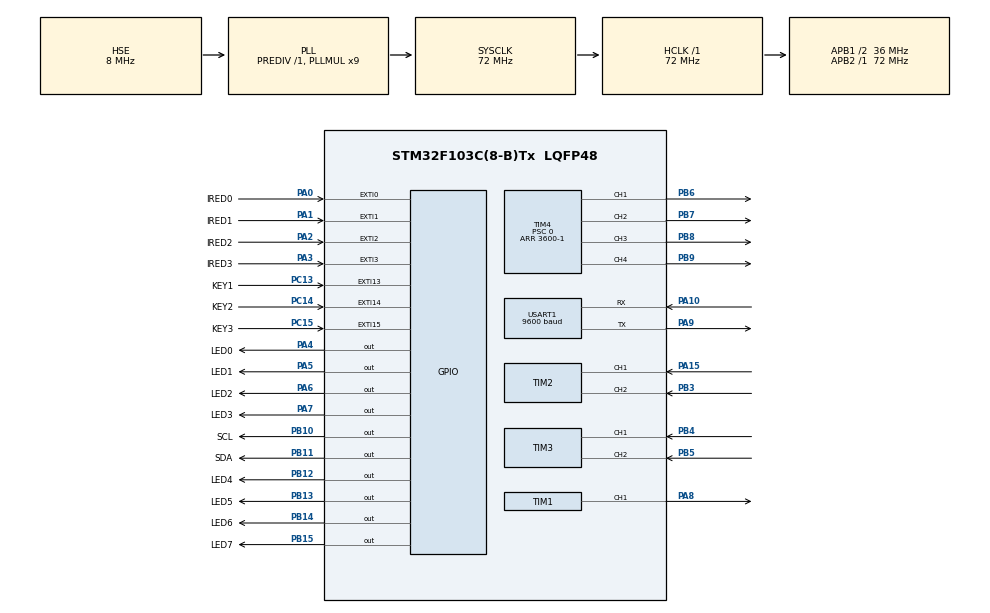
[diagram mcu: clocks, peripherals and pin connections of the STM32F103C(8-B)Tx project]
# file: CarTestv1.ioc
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Dma.Request0=USART1_TX
Dma.USART1_TX.0.Direction=DMA_MEMORY_TO_PERIPH
Dma.USART1_TX.0.Instance=DMA1_Channel4
Dma.USART1_TX.0.MemDataAlignment=DMA_MDATAALIGN_BYTE
Dma.USART1_TX.0.MemInc=DMA_MINC_ENABLE
Dma.USART1_TX.0.Mode=DMA_NORMAL
Dma.USART1_TX.0.PeriphDataAlignment=DMA_PDATAALIGN_BYTE
Dma.USART1_TX.0.PeriphInc=DMA_PINC_DISABLE
Dma.USART1_TX.0.Priority=DMA_PRIORITY_LOW
Mcu.Family=STM32F1
Mcu.Name=STM32F103C(8-B)Tx
Mcu.Package=LQFP48
NVIC.DMA1_Channel4_IRQn=true\:0\:0\:false\:true\:true\:1\:false\:true\:true
NVIC.EXTI0_IRQn=true\:0\:0\:false\:false\:true\:true\:true\:true
NVIC.EXTI15_10_IRQn=true\:13\:0\:true\:false\:true\:true\:true\:true
NVIC.EXTI1_IRQn=true\:0\:0\:false\:false\:true\:true\:true\:true
NVIC.EXTI2_IRQn=true\:0\:0\:false\:false\:true\:true\:true\:true
NVIC.EXTI3_IRQn=true\:0\:0\:false\:false\:true\:true\:true\:true
NVIC.PriorityGroup=NVIC_PRIORITYGROUP_4
NVIC.TIM2_IRQn=true\:0\:0\:false\:false\:true\:true\:true\:true
NVIC.TIM3_IRQn=true\:0\:0\:false\:false\:true\:true\:true\:true
NVIC.USART1_IRQn=true\:7\:0\:true\:true\:true\:2\:true\:true\:true
PA0-WKUP.GPIO_Label=IRED0
PA0-WKUP.GPIO_ModeDefaultEXTI=GPIO_MODE_IT_RISING
PA0-WKUP.Signal=GPXTI0
PA1.GPIO_Label=IRED1
PA1.GPIO_ModeDefaultEXTI=GPIO_MODE_IT_RISING
PA1.Signal=GPXTI1
PA10.Mode=Asynchronous
PA10.Signal=USART1_RX
PA13.Mode=Serial_Wire
PA13.Signal=SYS_JTMS-SWDIO
PA14.Mode=Serial_Wire
PA14.Signal=SYS_JTCK-SWCLK
PA15.Signal=S_TIM2_CH1_ETR
PA2.GPIO_Label=IRED2
PA2.GPIO_ModeDefaultEXTI=GPIO_MODE_IT_RISING
PA2.Signal=GPXTI2
PA3.GPIO_Label=IRED3
PA3.GPIO_ModeDefaultEXTI=GPIO_MODE_IT_RISING
PA3.Signal=GPXTI3
PA4.GPIO_Label=LED0
PA4.PinState=GPIO_PIN_SET
PA4.Signal=GPIO_Output
PA5.GPIO_Label=LED1
PA5.PinState=GPIO_PIN_SET
PA5.Signal=GPIO_Output
PA6.GPIO_Label=LED2
PA6.PinState=GPIO_PIN_SET
PA6.Signal=GPIO_Output
PA7.GPIO_Label=LED3
PA7.PinState=GPIO_PIN_SET
PA7.Signal=GPIO_Output
PA8.Signal=S_TIM1_CH1
PA9.Mode=Asynchronous
PA9.Signal=USART1_TX
PB10.GPIO_Label=SCL
PB10.GPIO_PuPd=GPIO_PULLUP
PB10.GPIO_Speed=GPIO_SPEED_FREQ_HIGH
PB10.PinState=GPIO_PIN_SET
PB10.Signal=GPIO_Output
PB11.GPIO_Label=SDA
PB11.GPIO_PuPd=GPIO_PULLUP
PB11.GPIO_Speed=GPIO_SPEED_FREQ_HIGH
PB11.PinState=GPIO_PIN_SET
PB11.Signal=GPIO_Output
PB12.GPIO_Label=LED4
PB12.PinState=GPIO_PIN_SET
PB12.Signal=GPIO_Output
PB13.GPIO_Label=LED5
PB13.PinState=GPIO_PIN_SET
PB13.Signal=GPIO_Output
PB14.GPIO_Label=LED6
PB14.PinState=GPIO_PIN_SET
PB14.Signal=GPIO_Output
PB15.GPIO_Label=LED7
PB15.PinState=GPIO_PIN_SET
PB15.Signal=GPIO_Output
PB3.Signal=S_TIM2_CH2
PB4.Signal=S_TIM3_CH1
PB5.Signal=S_TIM3_CH2
PB6.Signal=S_TIM4_CH1
PB7.Signal=S_TIM4_CH2
PB8.Signal=S_TIM4_CH3
PB9.Signal=S_TIM4_CH4
PC13-TAMPER-RTC.GPIO_Label=KEY1
PC13-TAMPER-RTC.GPIO_ModeDefaultEXTI=GPIO_MODE_IT_FALLING
PC13-TAMPER-RTC.GPIO_PuPd=GPIO_PULLUP
PC13-TAMPER-RTC.Signal=GPXTI13
PC14-OSC32_IN.GPIO_Label=KEY2
PC14-OSC32_IN.GPIO_ModeDefaultEXTI=GPIO_MODE_IT_FALLING
PC14-OSC32_IN.GPIO_PuPd=GPIO_PULLUP
PC14-OSC32_IN.Signal=GPXTI14
PC15-OSC32_OUT.GPIO_Label=KEY3
PC15-OSC32_OUT.GPIO_ModeDefaultEXTI=GPIO_MODE_IT_FALLING
PC15-OSC32_OUT.GPIO_PuPd=GPIO_PULLUP
PC15-OSC32_OUT.Signal=GPXTI15
PD0-OSC_IN.Mode=HSE-External-Oscillator
PD0-OSC_IN.Signal=RCC_OSC_IN
PD1-OSC_OUT.Mode=HSE-External-Oscillator
PD1-OSC_OUT.Signal=RCC_OSC_OUT
ProjectManager.HeapSize=0x200
ProjectManager.StackSize=0x400
ProjectManager.TargetToolchain=MDK-ARM V5
RCC.AHBFreq_Value=72000000
RCC.APB1CLKDivider=RCC_HCLK_DIV2
RCC.APB1Freq_Value=36000000
RCC.APB1TimFreq_Value=72000000
RCC.APB2Freq_Value=72000000
RCC.APB2TimFreq_Value=72000000
RCC.HCLKFreq_Value=72000000
RCC.PLLMUL=RCC_PLL_MUL9
RCC.PLLSourceVirtual=RCC_PLLSOURCE_HSE
RCC.SYSCLKFreq_VALUE=72000000
RCC.SYSCLKSource=RCC_SYSCLKSOURCE_PLLCLK
RCC.USBFreq_Value=72000000
SH.S_TIM1_CH1.0=TIM1_CH1,PWM Generation1 CH1
SH.S_TIM2_CH1_ETR.0=TIM2_CH1,Encoder_Interface
SH.S_TIM2_CH2.0=TIM2_CH2,Encoder_Interface
SH.S_TIM3_CH1.0=TIM3_CH1,Encoder_Interface
SH.S_TIM3_CH2.0=TIM3_CH2,Encoder_Interface
SH.S_TIM4_CH1.0=TIM4_CH1,PWM Generation1 CH1
SH.S_TIM4_CH2.0=TIM4_CH2,PWM Generation2 CH2
SH.S_TIM4_CH3.0=TIM4_CH3,PWM Generation3 CH3
SH.S_TIM4_CH4.0=TIM4_CH4,PWM Generation4 CH4
TIM1.Channel-PWM\ Generation1\ CH1=TIM_CHANNEL_1
TIM1.Period=500-1
TIM1.Prescaler=72-1
TIM1.Pulse-PWM\ Generation1\ CH1=250
TIM2.EncoderMode=TIM_ENCODERMODE_TI12
TIM3.EncoderMode=TIM_ENCODERMODE_TI12
TIM4.AutoReloadPreload=TIM_AUTORELOAD_PRELOAD_DISABLE
TIM4.Channel-PWM\ Generation1\ CH1=TIM_CHANNEL_1
TIM4.Channel-PWM\ Generation2\ CH2=TIM_CHANNEL_2
TIM4.Channel-PWM\ Generation3\ CH3=TIM_CHANNEL_3
TIM4.Channel-PWM\ Generation4\ CH4=TIM_CHANNEL_4
TIM4.OC1Preload_PWM=ENABLE
TIM4.OC2Preload_PWM=ENABLE
TIM4.Period=3600-1
TIM4.Prescaler=0
TIM4.Pulse-PWM\ Generation1\ CH1=0
TIM4.Pulse-PWM\ Generation2\ CH2=0
TIM4.Pulse-PWM\ Generation4\ CH4=0
TIM4.TIM_MasterOutputTrigger=TIM_TRGO_RESET
USART1.BaudRate=9600
USART1.VirtualMode=VM_ASYNC
VP_TIM1_VS_ClockSourceINT.Mode=Internal
VP_TIM4_VS_ClockSourceINT.Mode=Internal
board=custom

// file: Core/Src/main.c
/* USER CODE BEGIN Header */
/**
  ******************************************************************************
  * @file           : main.c
  * @brief          : Main program body
  ******************************************************************************
  * @attention
  *
  * Copyright (c) 2023 STMicroelectronics.
  * All rights reserved.
  *
  * This software is licensed under terms that can be found in the LICENSE file
  * in the root directory of this software component.
  * If no LICENSE file comes with this software, it is provided AS-IS.
  *
  ******************************************************************************
  */
/* USER CODE END Header */
#include "main.h"
#include "dma.h"
#include "tim.h"
#include "usart.h"
#include "gpio.h"

/* USER CODE BEGIN Includes */
#include "app.h"
#include "stdio.h"
#include "string.h"
#include "oled.h"

/* USER CODE END Includes */

/* USER CODE BEGIN PV */
extern uint8_t buf1[200];
extern uint8_t buf1_cnt;
extern uint8_t Buffer1;
/* USER CODE END PV */

void SystemClock_Config(void);
static void MX_NVIC_Init(void);

int main(void)
{

  /* MCU Configuration--------------------------------------------------------*/

  /* Reset of all peripherals, Initializes the Flash interface and the Systick. */
  HAL_Init();

  /* Configure the system clock */
  SystemClock_Config();

  /* Initialize all configured peripherals */
  MX_GPIO_Init();
  MX_DMA_Init();
  MX_USART1_UART_Init();
  MX_TIM1_Init();
  MX_TIM4_Init();
  MX_TIM2_Init();
  MX_TIM3_Init();

  /* Initialize interrupts */
  MX_NVIC_Init();
  /* USER CODE BEGIN 2 */
  HAL_Delay(500);
  LED1_OFF();
  LED2_OFF();
  LED3_OFF();
  LED4_OFF();
  LED5_OFF();
  LED6_OFF();
  LED7_OFF();
  HAL_UART_Receive_IT(&huart1, &Buffer1, 1);
  /* USER CODE END 2 */

  /* Infinite loop */
  /* USER CODE BEGIN WHILE */
HAL_TIM_Encoder_Start(&htim2,TIM_CHANNEL_ALL);
HAL_TIM_Encoder_Start(&htim3,TIM_CHANNEL_ALL);

HAL_TIM_Base_Start_IT(&htim2);
HAL_TIM_Base_Start_IT(&htim3);

HAL_TIM_Base_Start(&htim4);
HAL_TIM_PWM_Start(&htim4, TIM_CHANNEL_1);
HAL_TIM_PWM_Start(&htim4, TIM_CHANNEL_2);
HAL_TIM_PWM_Start(&htim4, TIM_CHANNEL_3);
HAL_TIM_PWM_Start(&htim4, TIM_CHANNEL_4);
	{	char str[100];
		sprintf(str,"Hand restarted,in ");
		u1dma_sendstr(str);
	  HAL_Delay(500);

	OLED_Init();
  OLED_Clear();

		}
  while (1)
  {  static uint32_t sec_interval=0;

		if(buf1_cnt)
		{  static uint8_t old_cnt1=0;
			HAL_Delay(5);
			if(old_cnt1==buf1_cnt)    //新周期内,没有收到任何数据,认为本次数据接收完成.
			{
				buf1_cnt=0;
				deal_u1dat(buf1,old_cnt1);
				old_cnt1=0;
			}
		  else
			{
				old_cnt1=buf1_cnt;
			}
		}

		if(HAL_GetTick()-sec_interval>1000)   //1s间隔，用作上传状态
		{
			sec_interval=HAL_GetTick();
			sec_dealtask();
		}

    /* USER CODE END WHILE */

  }
}

void SystemClock_Config(void)
{
  RCC_OscInitTypeDef RCC_OscInitStruct = {0};
  RCC_ClkInitTypeDef RCC_ClkInitStruct = {0};

  /** Initializes the RCC Oscillators according to the specified parameters
  * in the RCC_OscInitTypeDef structure.
  */
  RCC_OscInitStruct.OscillatorType = RCC_OSCILLATORTYPE_HSE;
  RCC_OscInitStruct.HSEState = RCC_HSE_ON;
  RCC_OscInitStruct.HSEPredivValue = RCC_HSE_PREDIV_DIV1;
  RCC_OscInitStruct.HSIState = RCC_HSI_ON;
  RCC_OscInitStruct.PLL.PLLState = RCC_PLL_ON;
  RCC_OscInitStruct.PLL.PLLSource = RCC_PLLSOURCE_HSE;
  RCC_OscInitStruct.PLL.PLLMUL = RCC_PLL_MUL9;
  if (HAL_RCC_OscConfig(&RCC_OscInitStruct) != HAL_OK)
  {
    Error_Handler();
  }

  /** Initializes the CPU, AHB and APB buses clocks
  */
  RCC_ClkInitStruct.ClockType = RCC_CLOCKTYPE_HCLK|RCC_CLOCKTYPE_SYSCLK
                              |RCC_CLOCKTYPE_PCLK1|RCC_CLOCKTYPE_PCLK2;
  RCC_ClkInitStruct.SYSCLKSource = RCC_SYSCLKSOURCE_PLLCLK;
  RCC_ClkInitStruct.AHBCLKDivider = RCC_SYSCLK_DIV1;
  RCC_ClkInitStruct.APB1CLKDivider = RCC_HCLK_DIV2;
  RCC_ClkInitStruct.APB2CLKDivider = RCC_HCLK_DIV1;

  if (HAL_RCC_ClockConfig(&RCC_ClkInitStruct, FLASH_LATENCY_2) != HAL_OK)
  {
    Error_Handler();
  }
}

/**
  * @brief NVIC Configuration.
  * @retval None
  */
static void MX_NVIC_Init(void)
{
  /* DMA1_Channel4_IRQn interrupt configuration */
  HAL_NVIC_SetPriority(DMA1_Channel4_IRQn, 0, 0);
  HAL_NVIC_EnableIRQ(DMA1_Channel4_IRQn);
  /* USART1_IRQn interrupt configuration */
  HAL_NVIC_SetPriority(USART1_IRQn, 7, 0);
  HAL_NVIC_EnableIRQ(USART1_IRQn);
}

void Error_Handler(void)
{
  __disable_irq();
  while (1)
  {
  }
}
